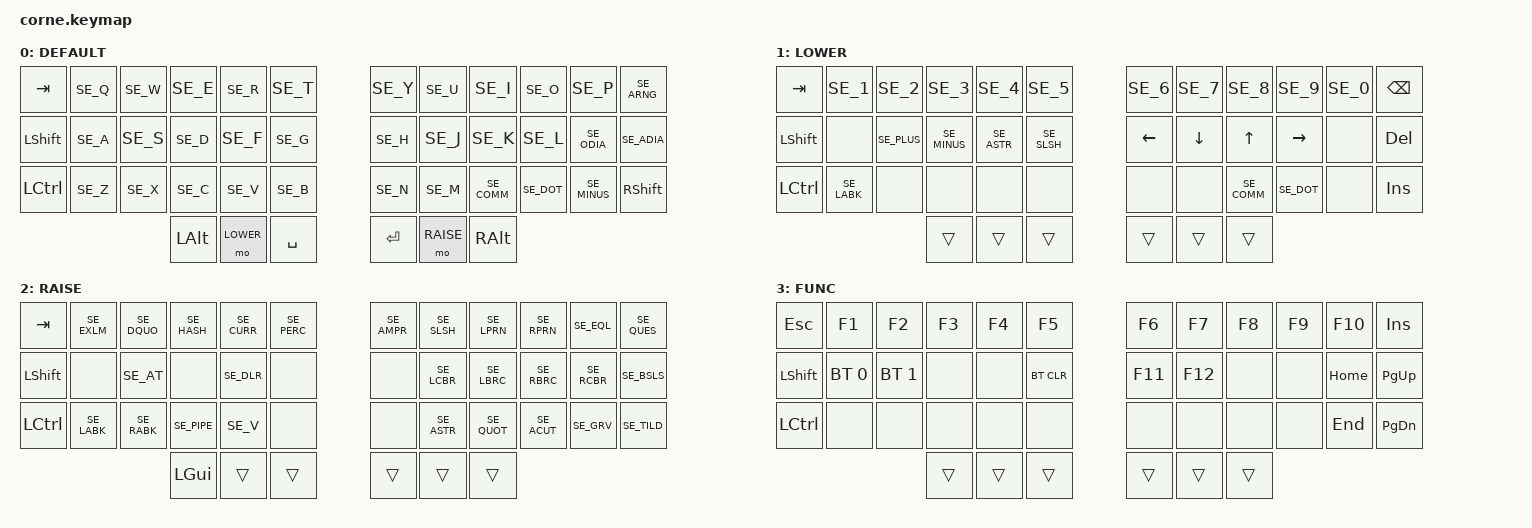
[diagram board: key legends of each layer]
/*
 * Copyright (c) 2020 The ZMK Contributors
 *
 * SPDX-License-Identifier: MIT
 */

#include <behaviors.dtsi>
#include <dt-bindings/zmk/bt.h>
#include <dt-bindings/zmk/keys.h>
#include "keys_sv.h"

#define DEFAULT 0
#define LOWER   1
#define RAISE   2
#define FUNC    3

/ {
    combos { compatible = "zmk,combos"; };
    keymap {
        compatible = "zmk,keymap";
        DEFAULT {
            bindings = <
    &kp TAB    &kp SE_Q  &kp SE_W  &kp SE_E      &kp SE_R   &kp SE_T   &kp SE_Y  &kp SE_U   &kp SE_I     &kp SE_O     &kp SE_P      &kp SE_ARNG
    &kp LSHFT  &kp SE_A  &kp SE_S  &kp SE_D      &kp SE_F   &kp SE_G   &kp SE_H  &kp SE_J   &kp SE_K     &kp SE_L     &kp SE_ODIA   &kp SE_ADIA
    &kp LCTRL  &kp SE_Z  &kp SE_X  &kp SE_C      &kp SE_V   &kp SE_B   &kp SE_N  &kp SE_M   &kp SE_COMM  &kp SE_DOT   &kp SE_MINUS  &kp RSHFT
                                   &kp LEFT_ALT  &mo LOWER  &kp SPACE  &kp RET   &mo RAISE  &kp RALT
            >;
        };
        LOWER {
            bindings = <
    &kp TAB    &kp SE_1     &kp SE_2     &kp SE_3      &kp SE_4     &kp SE_5     &kp SE_6    &kp SE_7    &kp SE_8     &kp SE_9     &kp SE_0  &kp BSPC
    &kp LSHFT  &none        &kp SE_PLUS  &kp SE_MINUS  &kp SE_ASTR  &kp SE_SLSH  &kp LEFT    &kp DOWN    &kp UP       &kp RIGHT    &none     &kp DEL
    &kp LCTRL  &kp SE_LABK  &none        &none         &none        &none        &none       &none       &kp SE_COMM  &kp SE_DOT   &none     &kp INS
                                         &trans        &trans       &trans       &trans      &trans      &trans
            >;
        };
        RAISE {
            bindings = <
    &kp TAB    &kp SE_EXLM  &kp SE_DQUO  &kp SE_HASH   &kp SE_CURR  &kp SE_PERC  &kp SE_AMPR  &kp SE_SLSH  &kp SE_LPRN  &kp SE_RPRN  &kp SE_EQL   &kp SE_QUES
    &kp LSHFT  &none        &kp SE_AT    &none         &kp SE_DLR   &none        &none        &kp SE_LCBR  &kp SE_LBRC  &kp SE_RBRC  &kp SE_RCBR  &kp SE_BSLS
    &kp LCTRL  &kp SE_LABK  &kp SE_RABK  &kp SE_PIPE   &kp SE_V     &none        &none        &kp SE_ASTR  &kp SE_QUOT  &kp SE_ACUT  &kp SE_GRV   &kp SE_TILD
                                         &kp LEFT_GUI  &trans       &trans       &trans       &trans       &trans
            >;
        };
        FUNC {
            bindings = <
    &kp ESC    &kp F1        &kp F2        &kp F3  &kp F4  &kp F5      &kp F6   &kp F7   &kp F8  &kp F9  &kp F10   &kp INS
    &kp LSHFT  &bt BT_SEL 0  &bt BT_SEL 1  &none   &none   &bt BT_CLR  &kp F11  &kp F12  &none   &none   &kp HOME  &kp PG_UP
    &kp LCTRL  &none         &none         &none   &none   &none       &none    &none    &none   &none   &kp END   &kp PG_DN
                                           &trans  &trans  &trans      &trans   &trans   &trans
            >;
        };
    };

    conditional_layers {
        compatible = "zmk,conditional-layers";
        FN_LAYER_CND {
            if-layers = <LOWER RAISE>;
            then-layer = <FUNC>;
        };
    };
};
